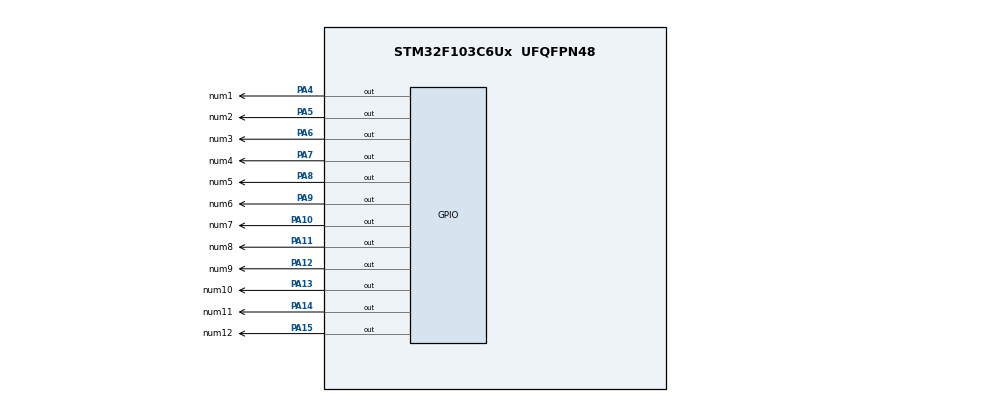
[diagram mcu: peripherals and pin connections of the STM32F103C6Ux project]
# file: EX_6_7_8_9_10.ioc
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Mcu.Family=STM32F1
Mcu.Name=STM32F103C6Ux
Mcu.Package=UFQFPN48
NVIC.PriorityGroup=NVIC_PRIORITYGROUP_4
PA10.GPIO_Label=num7
PA10.Signal=GPIO_Output
PA11.GPIO_Label=num8
PA11.Signal=GPIO_Output
PA12.GPIO_Label=num9
PA12.Signal=GPIO_Output
PA13.GPIO_Label=num10
PA13.Signal=GPIO_Output
PA14.GPIO_Label=num11
PA14.Signal=GPIO_Output
PA15.GPIO_Label=num12
PA15.Signal=GPIO_Output
PA4.GPIO_Label=num1
PA4.Signal=GPIO_Output
PA5.GPIO_Label=num2
PA5.Signal=GPIO_Output
PA6.GPIO_Label=num3
PA6.Signal=GPIO_Output
PA7.GPIO_Label=num4
PA7.Signal=GPIO_Output
PA8.GPIO_Label=num5
PA8.Signal=GPIO_Output
PA9.GPIO_Label=num6
PA9.Signal=GPIO_Output
ProjectManager.HeapSize=0x200
ProjectManager.StackSize=0x400
ProjectManager.TargetToolchain=STM32CubeIDE
RCC.APB1Freq_Value=8000000
RCC.APB2Freq_Value=8000000
VP_SYS_VS_ND.Mode=No_Debug
board=custom

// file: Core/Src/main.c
/* USER CODE BEGIN Header */
/**
  ******************************************************************************
  * @file           : main.c
  * @brief          : Main program body
  ******************************************************************************
  * @attention
  *
  * <h2><center>&copy; Copyright (c) 2026 STMicroelectronics.
  * All rights reserved.</center></h2>
  *
  * This software component is licensed by ST under BSD 3-Clause license,
  * the "License"; You may not use this file except in compliance with the
  * License. You may obtain a copy of the License at:
  *                        opensource.org/licenses/BSD-3-Clause
  *
  ******************************************************************************
  */
/* USER CODE END Header */
#include "main.h"

void SystemClock_Config(void);
static void MX_GPIO_Init(void);

/* USER CODE BEGIN 0 */
void clearAllClock()
					{
					HAL_GPIO_WritePin(GPIOA, GPIO_PIN_All, 0);
					}
void setNumberOnClock(int num){
	switch(num){
	case 0:
	    HAL_GPIO_WritePin(GPIOA, num1_Pin, GPIO_PIN_SET);
	    break;
	case 1:
	    HAL_GPIO_WritePin(GPIOA, num2_Pin, GPIO_PIN_SET);
	    break;
	case 2:
	    HAL_GPIO_WritePin(GPIOA, num3_Pin, GPIO_PIN_SET);
	    break;
	case 3:
	    HAL_GPIO_WritePin(GPIOA, num4_Pin, GPIO_PIN_SET);
	    break;
	case 4:
	    HAL_GPIO_WritePin(GPIOA, num5_Pin, GPIO_PIN_SET);
	    break;
	case 5:
	    HAL_GPIO_WritePin(GPIOA, num6_Pin, GPIO_PIN_SET);
	    break;
	case 6:
	    HAL_GPIO_WritePin(GPIOA, num7_Pin, GPIO_PIN_SET);
	    break;
	case 7:
	    HAL_GPIO_WritePin(GPIOA, num8_Pin, GPIO_PIN_SET);
	    break;
	case 8:
	    HAL_GPIO_WritePin(GPIOA, num9_Pin, GPIO_PIN_SET);
	    break;
	case 9:
	    HAL_GPIO_WritePin(GPIOA, num10_Pin, GPIO_PIN_SET);
	    break;

	case 10:
	    HAL_GPIO_WritePin(GPIOA, num11_Pin, GPIO_PIN_SET);
	    break;
	case 11:
	    HAL_GPIO_WritePin(GPIOA, num12_Pin, GPIO_PIN_SET);
	    break;
	default:
		break;
	}
}
void clearNumberOnClock(int num){
	switch(num){
	case 0:
	    HAL_GPIO_WritePin(GPIOA, num1_Pin, GPIO_PIN_RESET);
	    break;
	case 1:
	    HAL_GPIO_WritePin(GPIOA, num2_Pin, GPIO_PIN_RESET);
	    break;
	case 2:
	    HAL_GPIO_WritePin(GPIOA, num3_Pin, GPIO_PIN_RESET);
	    break;
	case 3:
	    HAL_GPIO_WritePin(GPIOA, num4_Pin, GPIO_PIN_RESET);
	    break;
	case 4:
	    HAL_GPIO_WritePin(GPIOA, num5_Pin, GPIO_PIN_RESET);
	    break;
	case 5:
	    HAL_GPIO_WritePin(GPIOA, num6_Pin, GPIO_PIN_RESET);
	    break;
	case 6:
	    HAL_GPIO_WritePin(GPIOA, num7_Pin, GPIO_PIN_RESET);
	    break;
	case 7:
	    HAL_GPIO_WritePin(GPIOA, num8_Pin, GPIO_PIN_RESET);
	    break;
	case 8:
	    HAL_GPIO_WritePin(GPIOA, num9_Pin, GPIO_PIN_RESET);
	    break;
	case 9:
	    HAL_GPIO_WritePin(GPIOA, num10_Pin, GPIO_PIN_RESET);
	    break;

	case 10:
	    HAL_GPIO_WritePin(GPIOA, num11_Pin, GPIO_PIN_RESET);
	    break;
	case 11:
	    HAL_GPIO_WritePin(GPIOA, num12_Pin, GPIO_PIN_RESET);
	    break;
	default:
		break;
	}
}
int second=0;
int minute=0;
int hour=0;
/* USER CODE END 0 */

int main(void)
{

  /* MCU Configuration--------------------------------------------------------*/

  /* Reset of all peripherals, Initializes the Flash interface and the Systick. */
  HAL_Init();

  /* Configure the system clock */
  SystemClock_Config();

  /* Initialize all configured peripherals */
  MX_GPIO_Init();

  /* Infinite loop */
  /* USER CODE BEGIN WHILE */
  while (1)
  {
	  /////B6
//	  for (int i = 4; i <= 15; i++) {
//	  	              HAL_GPIO_WritePin(GPIOA, (1 << i), GPIO_PIN_SET);
//	  	              HAL_Delay(500);
//	  	          }
/////////b7
//	  clearAllClock ();
	  //////////b8
//	  setNumberOnClock();
	 //////////b9
//	  clearNumberOnClock();

	  ////////b10
	  	  	  clearAllClock ();
		  	  if( second == 60) {
		  		  second = 0;
		  		  minute++;
		  	  }
		  	  if( minute == 60) {
		  		  minute = 0;
		  		  hour++;
		  	  }
		  	  if( hour == 12) {
		  		  hour = 0;
		  	  }
		  	  setNumberOnClock(second/5);
		  	  setNumberOnClock(minute/5);
		  	  setNumberOnClock(hour);
		  	  second++;
		  	  HAL_Delay (100) ;
    /* USER CODE END WHILE */

  }
}

void SystemClock_Config(void)
{
  RCC_OscInitTypeDef RCC_OscInitStruct = {0};
  RCC_ClkInitTypeDef RCC_ClkInitStruct = {0};

  /** Initializes the RCC Oscillators according to the specified parameters
  * in the RCC_OscInitTypeDef structure.
  */
  RCC_OscInitStruct.OscillatorType = RCC_OSCILLATORTYPE_HSI;
  RCC_OscInitStruct.HSIState = RCC_HSI_ON;
  RCC_OscInitStruct.HSICalibrationValue = RCC_HSICALIBRATION_DEFAULT;
  RCC_OscInitStruct.PLL.PLLState = RCC_PLL_NONE;
  if (HAL_RCC_OscConfig(&RCC_OscInitStruct) != HAL_OK)
  {
    Error_Handler();
  }
  /** Initializes the CPU, AHB and APB buses clocks
  */
  RCC_ClkInitStruct.ClockType = RCC_CLOCKTYPE_HCLK|RCC_CLOCKTYPE_SYSCLK
                              |RCC_CLOCKTYPE_PCLK1|RCC_CLOCKTYPE_PCLK2;
  RCC_ClkInitStruct.SYSCLKSource = RCC_SYSCLKSOURCE_HSI;
  RCC_ClkInitStruct.AHBCLKDivider = RCC_SYSCLK_DIV1;
  RCC_ClkInitStruct.APB1CLKDivider = RCC_HCLK_DIV1;
  RCC_ClkInitStruct.APB2CLKDivider = RCC_HCLK_DIV1;

  if (HAL_RCC_ClockConfig(&RCC_ClkInitStruct, FLASH_LATENCY_0) != HAL_OK)
  {
    Error_Handler();
  }
}

static void MX_GPIO_Init(void)
{
  GPIO_InitTypeDef GPIO_InitStruct = {0};

  /* GPIO Ports Clock Enable */
  __HAL_RCC_GPIOA_CLK_ENABLE();

  /*Configure GPIO pin Output Level */
  HAL_GPIO_WritePin(GPIOA, num1_Pin|num2_Pin|num3_Pin|num4_Pin
                          |num5_Pin|num6_Pin|num7_Pin|num8_Pin
                          |num9_Pin|num10_Pin|num11_Pin|num12_Pin, GPIO_PIN_RESET);

  /*Configure GPIO pins : num1_Pin num2_Pin num3_Pin num4_Pin
                           num5_Pin num6_Pin num7_Pin num8_Pin
                           num9_Pin num10_Pin num11_Pin num12_Pin */
  GPIO_InitStruct.Pin = num1_Pin|num2_Pin|num3_Pin|num4_Pin
                          |num5_Pin|num6_Pin|num7_Pin|num8_Pin
                          |num9_Pin|num10_Pin|num11_Pin|num12_Pin;
  GPIO_InitStruct.Mode = GPIO_MODE_OUTPUT_PP;
  GPIO_InitStruct.Pull = GPIO_NOPULL;
  GPIO_InitStruct.Speed = GPIO_SPEED_FREQ_LOW;
  HAL_GPIO_Init(GPIOA, &GPIO_InitStruct);

}

void Error_Handler(void)
{
  __disable_irq();
  while (1)
  {
  }
}

/************************ (C) COPYRIGHT STMicroelectronics *****END OF FILE****/
